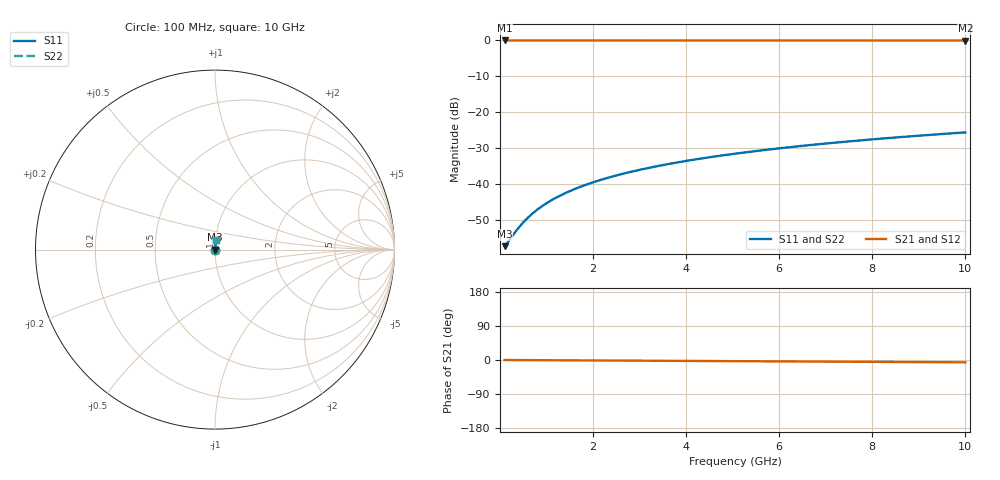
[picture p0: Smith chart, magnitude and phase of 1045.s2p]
# Hz S RI R 50.00
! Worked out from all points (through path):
!   100 points, 100 MHz to 10 GHz, reference 50 ohm
!   highest |S21| = -0.01 dB at 100 MHz (marker M1); lowest = 0.0 dB at 10 GHz (marker M2)
!   lowest |S11| = -57.4 dB at 100 MHz (marker M3), VSWR 1.00, Z = 50.1 + j0.052 ohm
!   |S11| at or under -10 dB: start of sweep to end of sweep
!   |S22| runs from -57.4 to -25.7 dB; largest |S21 - S12| = 0
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1e8  0.00124 0.000518  0.9988 -0.00106  0.9988 -0.00106  0.00124 0.000518
2e8  0.00125 0.00104  0.9987 -0.00212  0.9987 -0.00212  0.00125 0.00104
3e8  0.00126 0.00156  0.9987 -0.00319  0.9987 -0.00319  0.00126 0.00156
4e8  0.00127 0.00207  0.9987 -0.00425  0.9987 -0.00425  0.00127 0.00207
5e8  0.00128 0.00259  0.9987 -0.00531  0.9987 -0.00531  0.00128 0.00259
6e8  0.00129 0.00311  0.9987 -0.00637  0.9987 -0.00637  0.00129 0.00311
7e8  0.0013 0.00363  0.9987 -0.00744  0.9987 -0.00744  0.0013 0.00363
8e8  0.00131 0.00415  0.9987 -0.0085  0.9987 -0.0085  0.00131 0.00415
1e9  0.00134 0.00518  0.9986 -0.0106  0.9986 -0.0106  0.00134 0.00518
1.2e9  0.00137 0.00622  0.9986 -0.0127  0.9986 -0.0127  0.00137 0.00622
1.5e9  0.00142 0.00777  0.9985 -0.0159  0.9985 -0.0159  0.00142 0.00777
1.8e9  0.00148 0.00933  0.9985 -0.0191  0.9985 -0.0191  0.00148 0.00933
2.1e9  0.00154 0.0109  0.9984 -0.0223  0.9984 -0.0223  0.00154 0.0109
2.5e9  0.00165 0.013  0.9982 -0.0266  0.9982 -0.0266  0.00165 0.013
2.9e9  0.00178 0.015  0.9981 -0.0308  0.9981 -0.0308  0.00178 0.015
3.4e9  0.00196 0.0176  0.9979 -0.0361  0.9979 -0.0361  0.00196 0.0176
4.2e9  0.0023 0.0218  0.9974 -0.0446  0.9974 -0.0446  0.0023 0.0218
5.1e9  0.00277 0.0264  0.9968 -0.0542  0.9968 -0.0542  0.00277 0.0264
5.9e9  0.00327 0.0305  0.9962 -0.0627  0.9962 -0.0627  0.00327 0.0305
6.7e9  0.00383 0.0347  0.9955 -0.0712  0.9955 -0.0712  0.00383 0.0347
8.4e9  0.00527 0.0434  0.9936 -0.0893  0.9936 -0.0893  0.00527 0.0434
1e10  0.00692 0.0516  0.9915 -0.1063  0.9915 -0.1063  0.00692 0.0516
